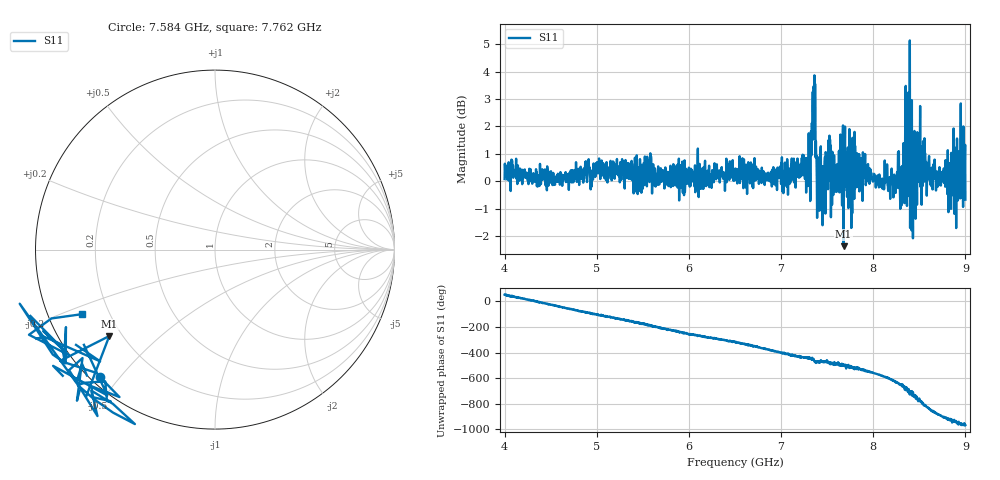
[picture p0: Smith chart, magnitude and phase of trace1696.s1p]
! Created with skrf 1.8.0 (http://scikit-rf.org).
# Hz S RI R 50.0
!freq ReS11 ImS11
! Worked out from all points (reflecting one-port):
!   1601 points, 4 GHz to 9 GHz, reference 50 ohm
!   lowest |S11| = -2.4 dB at 7.678 GHz (marker M1), VSWR 7.36, Z = 7.64 - j17.5 ohm
!   phase of S11 starts at 53 deg and turns -1020 deg over the sweep
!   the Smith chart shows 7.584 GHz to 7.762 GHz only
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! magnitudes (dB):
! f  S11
! 4 GHz  0.1
! 4.625 GHz  -0.2
! 5.25 GHz  0.0
! 5.875 GHz  0.2
! 6.5 GHz  0.3
! 7.125 GHz  0.5
! 7.294 GHz  0.5
! 7.316 GHz  -0.7
! 7.347 GHz  2.4
! 7.366 GHz  2.0
! 7.4 GHz  0.9
! 7.428 GHz  1.1
! 7.512 GHz  1.5
! 7.566 GHz  -0.5
! 7.65 GHz  1.4
! 7.678 GHz  -2.4
! 7.75 GHz  0.5
! 8.097 GHz  0.1
! 8.262 GHz  -0.2
! 8.316 GHz  0.5
! 8.334 GHz  -0.3
! 8.375 GHz  0.7
! 8.425 GHz  -0.8
! 8.497 GHz  0.9
! 8.638 GHz  0.1
! 8.875 GHz  0.2
! 8.972 GHz  0.6
! 9 GHz  -0.7
